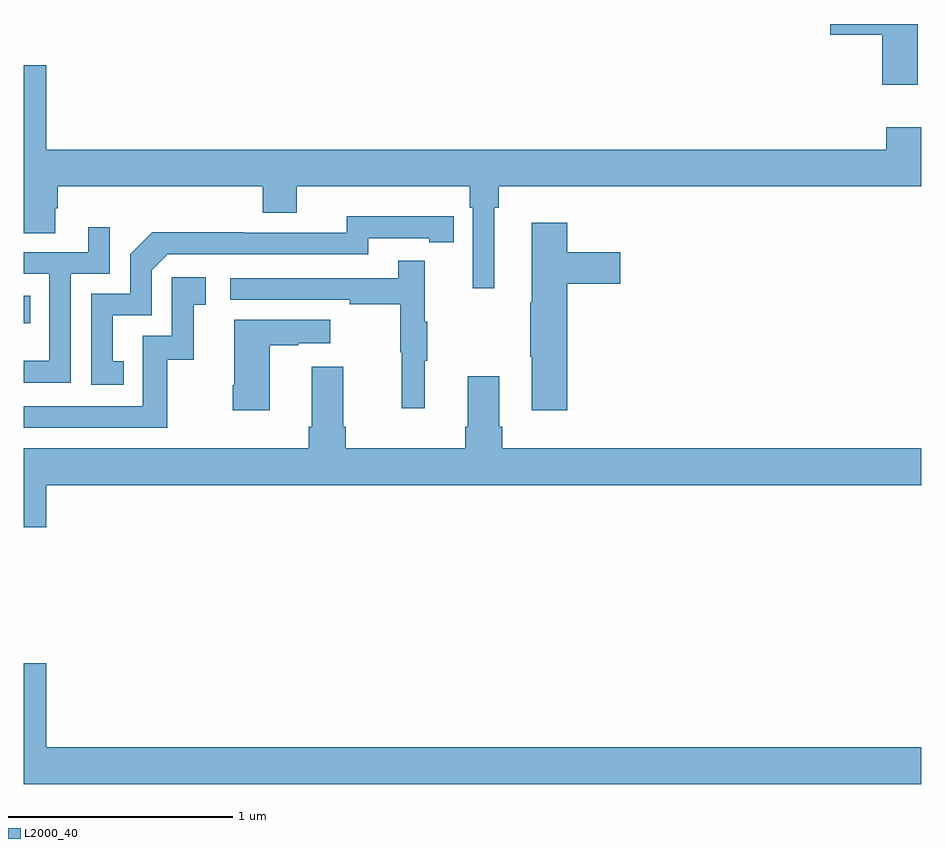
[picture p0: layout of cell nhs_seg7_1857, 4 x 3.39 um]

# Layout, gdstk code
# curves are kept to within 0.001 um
import gdstk
lib = gdstk.Library(unit=1e-6, precision=1e-09)
def R(c, l, rs):  # rectangles x0, y0, x1, y1
    for r in rs: c.add(gdstk.rectangle(r[:2], r[2:], *l))
def P(c, l, *ps):  # polygons
    for p in ps: c.add(gdstk.Polygon(p, *l))
L2000_40 = (2000, 40)

nhs_seg7_1857 = lib.new_cell('nhs_seg7_1857')
R(nhs_seg7_1857, L2000_40, [(237,1006.665,237.029,1006.788)])
P(nhs_seg7_1857, L2000_40, [(240.985,1008),(240.594,1008),(240.594,1007.951),(240.827,1007.951),(240.827,1007.73),(240.985,1007.73)],
  [(239.098,1007.18),(239.117,1007.18),(239.117,1007.276),(241,1007.276),(241,1007.539),(240.845,1007.539),(240.845,1007.44),(237.1,1007.44),(237.1,1007.815),(237,1007.815),(237,1007.068),(237.139,1007.068),(237.139,1007.178),(237.152,1007.178),(237.152,1007.276),(238.064,1007.276),(238.064,1007.159),(238.216,1007.159),(238.216,1007.276),(238.988,1007.276),(238.988,1007.18),(239.001,1007.18),(239.001,1006.821),(239.098,1006.821)],
  [(237.446,1006.497),(237.397,1006.497),(237.397,1006.701),(237.57,1006.701),(237.57,1006.902),(237.642,1006.974),(238.536,1006.974),(238.536,1007.046),(238.808,1007.046),(238.808,1007.026),(238.916,1007.026),(238.916,1007.142),(238.44,1007.143),(238.44,1007.07),(237.98,1007.07),(237.98,1007.072),(237.572,1007.072),(237.474,1006.974),(237.474,1006.797),(237.3,1006.797),(237.3,1006.392),(237.446,1006.392)],
  [(239.423,1006.841),(239.659,1006.841),(239.659,1006.983),(239.423,1006.983),(239.423,1007.113),(239.264,1007.113),(239.264,1006.757),(239.257,1006.757),(239.257,1006.516),(239.264,1006.516),(239.264,1006.278),(239.423,1006.278)],
  [(237.21,1006.887),(237.384,1006.887),(237.384,1007.095),(237.287,1007.095),(237.287,1006.983),(237,1006.983),(237,1006.887),(237.114,1006.887),(237.114,1006.498),(237,1006.498),(237,1006.401),(237.21,1006.401)],
  [(238.787,1006.499),(238.798,1006.499),(238.798,1006.673),(238.787,1006.673),(238.787,1006.945),(238.669,1006.945),(238.669,1006.866),(237.921,1006.866),(237.921,1006.77),(238.453,1006.77),(238.453,1006.75),(238.677,1006.75),(238.677,1006.536),(238.684,1006.536),(238.684,1006.287),(238.787,1006.287)],
  [(237.64,1006.503),(237.758,1006.503),(237.758,1006.749),(237.811,1006.749),(237.811,1006.87),(237.66,1006.87),(237.66,1006.611),(237.531,1006.611),(237.531,1006.296),(237,1006.296),(237,1006.2),(237.64,1006.2)],
  [(238.096,1006.567),(238.223,1006.567),(238.223,1006.577),(238.366,1006.577),(238.366,1006.681),(237.938,1006.681),(237.938,1006.39),(237.931,1006.39),(237.931,1006.278),(238.096,1006.278)],
  [(237.1,1005.944),(241,1005.944),(241,1006.108),(239.132,1006.108),(239.132,1006.204),(239.119,1006.204),(239.119,1006.429),(238.979,1006.429),(238.979,1006.204),(238.967,1006.204),(238.967,1006.108),(238.436,1006.108),(238.436,1006.204),(238.423,1006.204),(238.423,1006.471),(238.283,1006.471),(238.283,1006.204),(238.271,1006.204),(238.271,1006.108),(237,1006.108),(237,1005.756),(237.1,1005.756)],
  [(241,1004.776),(237.1,1004.776),(237.1,1005.151),(237,1005.151),(237,1004.612),(241,1004.612)])

lib.write_gds('nhs_seg7_1857.gds')
